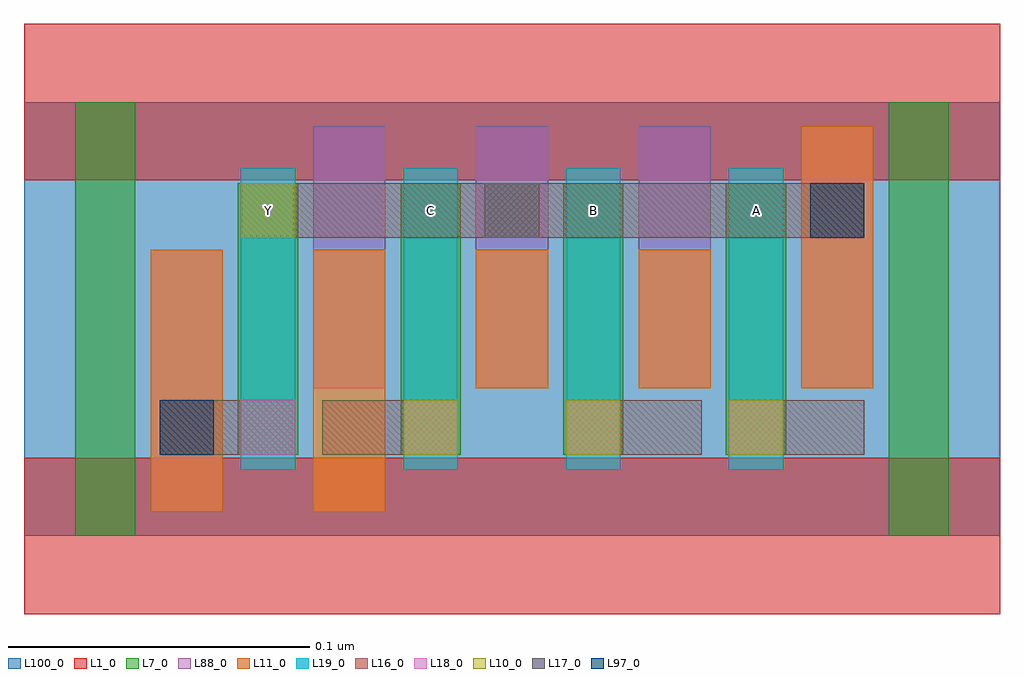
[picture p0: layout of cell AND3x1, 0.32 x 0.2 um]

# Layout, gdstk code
import gdstk
lib = gdstk.Library(unit=1e-6, precision=2.5e-10)
def R(c, l, rs):  # rectangles x0, y0, x1, y1
    for r in rs: c.add(gdstk.rectangle(r[:2], r[2:], *l))
def A(c, l, x, y, w, h, nx, ny, dx, dy):  # array of equal rectangles
    R(c, l, [(x+i*dx, y+j*dy, x+i*dx+w, y+j*dy+h) for i in range(nx) for j in range(ny)])
L1_0 = (1, 0)
L7_0 = (7, 0)
L10_0 = (10, 0)
L11_0 = (11, 0)
L16_0 = (16, 0)
L17_0 = (17, 0)
L18_0 = (18, 0)
L19_0 = (19, 0)
L88_0 = (88, 0)
L97_0 = (97, 0)
L100_0 = (100, 0)

and3x1 = lib.new_cell('AND3x1')
R(and3x1, L1_0, [(0,-0.026,0.324,0.026), (0,0.118,0.324,0.17)])
A(and3x1, L7_0, 0.071, 0.027, 0.02, 0.09, 4, 1, 0.054, 0)
R(and3x1, L7_0, [(0.017,0,0.037,0.144), (0.287,0,0.307,0.144)])
A(and3x1, L10_0, 0.126, 0.027, 0.018, 0.018, 3, 1, 0.054, 0)
R(and3x1, L10_0, [(0.072,0.099,0.09,0.117)])
R(and3x1, L11_0, [(0.042,0.008,0.066,0.095), (0.096,0.008,0.12,0.095), (0.15,0.049,0.174,0.095), (0.204,0.049,0.228,0.095), (0.258,0.049,0.282,0.136)])
R(and3x1, L16_0, [(0.045,0.027,0.09,0.045), (0.099,0.027,0.144,0.045), (0.18,0.027,0.225,0.045), (0.234,0.027,0.279,0.045), (0.072,0.099,0.279,0.117)])
R(and3x1, L17_0, [(0.045,0.027,0.063,0.045), (0.153,0.099,0.171,0.117), (0.261,0.099,0.279,0.117)])
A(and3x1, L18_0, 0.072, 0.027, 0.018, 0.018, 4, 1, 0.054, 0)
A(and3x1, L19_0, 0.072, 0.022, 0.018, 0.1, 4, 1, 0.054, 0)
A(and3x1, L88_0, 0.096, 0.049, 0.024, 0.087, 4, 1, 0.054, 0)
R(and3x1, L88_0, [(0.042,0.008,0.066,0.095)])
R(and3x1, L97_0, [(0.045,0.027,0.063,0.045), (0.261,0.099,0.279,0.117)])
R(and3x1, L100_0, [(0,0,0.324,0.144)])
and3x1.add(gdstk.Label('A', (0.243,0.108), layer=19, texttype=251))
and3x1.add(gdstk.Label('B', (0.189,0.108), layer=19, texttype=251))
and3x1.add(gdstk.Label('C', (0.135,0.108), layer=19, texttype=251))
and3x1.add(gdstk.Label('Y', (0.081,0.108), layer=19, texttype=251))

lib.write_gds('AND3x1.gds')
